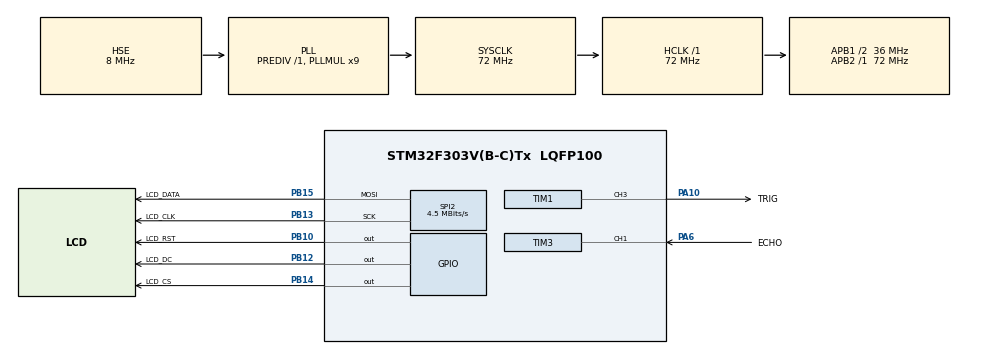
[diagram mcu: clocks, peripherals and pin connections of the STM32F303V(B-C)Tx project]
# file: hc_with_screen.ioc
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Mcu.Family=STM32F3
Mcu.Name=STM32F303V(B-C)Tx
Mcu.Package=LQFP100
Mcu.UserConstants=FREQ_DIVIDER,71;TOO_FAR_TIMEOUT,38000
NVIC.PriorityGroup=NVIC_PRIORITYGROUP_4
NVIC.TIM3_IRQn=true\:0\:0\:false\:false\:true\:true
PA10.GPIO_Label=TRIG
PA10.Signal=S_TIM1_CH3
PA6.GPIO_Label=ECHO
PA6.Signal=S_TIM3_CH1
PB10.GPIO_Label=LCD_RST
PB10.Signal=GPIO_Output
PB12.GPIO_Label=LCD_DC
PB12.Signal=GPIO_Output
PB13.GPIO_Label=LCD_CLK
PB13.Mode=TX_Only_Simplex_Unidirect_Master
PB13.Signal=SPI2_SCK
PB14.GPIO_Label=LCD_CS
PB14.Signal=GPIO_Output
PB15.GPIO_Label=LCD_DATA
PB15.Mode=TX_Only_Simplex_Unidirect_Master
PB15.Signal=SPI2_MOSI
PF0-OSC_IN.Mode=HSE-External-Oscillator
PF0-OSC_IN.Signal=RCC_OSC_IN
PF1-OSC_OUT.Mode=HSE-External-Oscillator
PF1-OSC_OUT.Signal=RCC_OSC_OUT
ProjectManager.HeapSize=0x200
ProjectManager.StackSize=0x400
ProjectManager.TargetToolchain=SW4STM32
RCC.AHBFreq_Value=72000000
RCC.APB1CLKDivider=RCC_HCLK_DIV2
RCC.APB1Freq_Value=36000000
RCC.APB1TimFreq_Value=72000000
RCC.APB2Freq_Value=72000000
RCC.APB2TimFreq_Value=72000000
RCC.CortexFreq_Value=72000000
RCC.HCLKFreq_Value=72000000
RCC.HSE_VALUE=8000000
RCC.HSI_VALUE=8000000
RCC.LSE_VALUE=32768
RCC.PLLMUL=RCC_PLL_MUL9
RCC.PLLSourceVirtual=RCC_PLLSOURCE_HSE
RCC.SYSCLKFreq_VALUE=72000000
RCC.SYSCLKSourceVirtual=RCC_SYSCLKSOURCE_PLLCLK
RCC.USBFreq_Value=72000000
SH.S_TIM1_CH3.0=TIM1_CH3,PWM Generation3 CH3
SH.S_TIM3_CH1.0=TIM3_CH1,TriggerSource_TI1FP1
SH.S_TIM3_CH1.1=TIM3_CH1,Input_Capture1_from_TI1
SH.S_TIM3_CH1.2=TIM3_CH1,Input_Capture2_from_TI1
SPI2.BaudRatePrescaler=SPI_BAUDRATEPRESCALER_8
SPI2.CalculateBaudRate=4.5 MBits/s
SPI2.DataSize=SPI_DATASIZE_8BIT
SPI2.Direction=SPI_DIRECTION_2LINES
SPI2.Mode=SPI_MODE_MASTER
SPI2.VirtualType=VM_MASTER
TIM1.Channel-PWM\ Generation3\ CH3=TIM_CHANNEL_3
TIM1.ClockDivision=TIM_CLOCKDIVISION_DIV1
TIM1.OCMode_PWM-PWM\ Generation3\ CH3=TIM_OCMODE_PWM2
TIM1.Period=15
TIM1.Prescaler=FREQ_DIVIDER
TIM1.Pulse-PWM\ Generation3\ CH3=2
TIM3.Channel-Input_Capture1_from_TI1=TIM_CHANNEL_1
TIM3.Channel-Input_Capture2_from_TI1=TIM_CHANNEL_2
TIM3.ICFilter_CH1=15
TIM3.ICPolarity_CH2=TIM_INPUTCHANNELPOLARITY_FALLING
TIM3.Period=65535
TIM3.Prescaler=FREQ_DIVIDER
VP_TIM1_VS_ClockSourceINT.Mode=Internal
VP_TIM1_VS_OPM.Mode=OPM_bit
VP_TIM3_VS_ClockSourceINT.Mode=Internal
VP_TIM3_VS_ControllerModeReset.Mode=Reset Mode
board=custom

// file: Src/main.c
/**
  ******************************************************************************
  * @file           : main.c
  * @brief          : Main program body
  ******************************************************************************
  ** This notice applies to any and all portions of this file
  * that are not between comment pairs USER CODE BEGIN and
  * USER CODE END. Other portions of this file, whether
  * inserted by the user or by software development tools
  * are owned by their respective copyright owners.
  *
  * COPYRIGHT(c) 2018 STMicroelectronics
  *
  * Redistribution and use in source and binary forms, with or without modification,
  * are permitted provided that the following conditions are met:
  *   1. Redistributions of source code must retain the above copyright notice,
  *      this list of conditions and the following disclaimer.
  *   2. Redistributions in binary form must reproduce the above copyright notice,
  *      this list of conditions and the following disclaimer in the documentation
  *      and/or other materials provided with the distribution.
  *   3. Neither the name of STMicroelectronics nor the names of its contributors
  *      may be used to endorse or promote products derived from this software
  *      without specific prior written permission.
  *
  * THIS SOFTWARE IS PROVIDED BY THE COPYRIGHT HOLDERS AND CONTRIBUTORS "AS IS"
  * AND ANY EXPRESS OR IMPLIED WARRANTIES, INCLUDING, BUT NOT LIMITED TO, THE
  * IMPLIED WARRANTIES OF MERCHANTABILITY AND FITNESS FOR A PARTICULAR PURPOSE ARE
  * DISCLAIMED. IN NO EVENT SHALL THE COPYRIGHT HOLDER OR CONTRIBUTORS BE LIABLE
  * FOR ANY DIRECT, INDIRECT, INCIDENTAL, SPECIAL, EXEMPLARY, OR CONSEQUENTIAL
  * DAMAGES (INCLUDING, BUT NOT LIMITED TO, PROCUREMENT OF SUBSTITUTE GOODS OR
  * SERVICES; LOSS OF USE, DATA, OR PROFITS; OR BUSINESS INTERRUPTION) HOWEVER
  * CAUSED AND ON ANY THEORY OF LIABILITY, WHETHER IN CONTRACT, STRICT LIABILITY,
  * OR TORT (INCLUDING NEGLIGENCE OR OTHERWISE) ARISING IN ANY WAY OUT OF THE USE
  * OF THIS SOFTWARE, EVEN IF ADVISED OF THE POSSIBILITY OF SUCH DAMAGE.
  *
  ******************************************************************************
  */
#include "main.h"
#include "stm32f3xx_hal.h"
#include "spi.h"
#include "tim.h"
#include "gpio.h"

/* USER CODE BEGIN Includes */
#include "lcd5110.h"
/* USER CODE END Includes */

/* USER CODE BEGIN PV */
/* Private variables ---------------------------------------------------------*/

/* USER CODE END PV */

void SystemClock_Config(void);

/* USER CODE BEGIN PFP */
/* Private function prototypes -----------------------------------------------*/

/* USER CODE END PFP */

/* USER CODE BEGIN 0 */
LCD5110_display lcd;

void print_lcd(char* msg[]) {
  LCD5110_clear_scr(&lcd);
  LCD5110_set_cursor(10, 5, &lcd);
  LCD5110_print(msg, BLACK, &lcd);
  LCD5110_refresh(&lcd);
}

typedef enum state_t{
  IDLE_S,
  WAITING_FOR_ECHO_START_S,
  WAITING_FOR_ECHO_STOP_S,
  ECHO_TIMEOUT_S,
  ECHO_NOT_WENT_LOW_S,
  READING_DATA_S,
  ERROR_S
} state_t;

volatile state_t state = IDLE_S;
volatile uint32_t measured_time;

void HAL_TIM_PeriodElapsedCallback(TIM_HandleTypeDef *htim) {
  if (htim->Instance == TIM3) {

    if (state == WAITING_FOR_ECHO_START_S) {
      state = ECHO_TIMEOUT_S;
    }

    if (state == WAITING_FOR_ECHO_STOP_S) {
      state = ECHO_NOT_WENT_LOW_S;
    }
  }
}

void HAL_TIM_IC_CaptureCallback(TIM_HandleTypeDef *htim) {
 if (htim->Instance == TIM3) {
  if (htim->Channel == HAL_TIM_ACTIVE_CHANNEL_1) {

   __HAL_TIM_CLEAR_FLAG(htim, TIM_FLAG_UPDATE);

   if (state == WAITING_FOR_ECHO_START_S) {
    state = WAITING_FOR_ECHO_STOP_S;
   }
  }

  if (htim->Channel == HAL_TIM_ACTIVE_CHANNEL_2) {
   if (state == WAITING_FOR_ECHO_STOP_S) {
    measured_time = HAL_TIM_ReadCapturedValue(htim, TIM_CHANNEL_2);
    state = READING_DATA_S;
   }
  }
 }
}

void on_error (const char* text, bool hang) {

	print_lcd(text);

  if (hang) {
    while (1);
  }

  else {
    state = IDLE_S;
  }
}

/* USER CODE END 0 */

int main(void)
{

  /* MCU Configuration----------------------------------------------------------*/

  /* Reset of all peripherals, Initializes the Flash interface and the Systick. */
  HAL_Init();

  /* Configure the system clock */
  SystemClock_Config();

  /* Initialize all configured peripherals */
  MX_GPIO_Init();
  MX_SPI2_Init();
  MX_TIM1_Init();
  MX_TIM3_Init();
  /* USER CODE BEGIN 2 */
  lcd.hw_conf.spi_handle = &hspi2;
  lcd.hw_conf.spi_cs_pin = LCD_CS_Pin;
  lcd.hw_conf.spi_cs_port = LCD_CS_GPIO_Port;
  lcd.hw_conf.rst_pin = LCD_RST_Pin;
  lcd.hw_conf.rst_port = LCD_RST_GPIO_Port;
  lcd.hw_conf.dc_pin = LCD_DC_Pin;
  lcd.hw_conf.dc_port = LCD_DC_GPIO_Port;
  lcd.def_scr = lcd5110_def_scr;
  LCD5110_init(&lcd.hw_conf, LCD5110_INVERTED_MODE, 0x40, 2, 3);

  if (HAL_GPIO_ReadPin(ECHO_GPIO_Port, ECHO_Pin)) {
    state = ERROR_S;
    on_error("Error -- Echo line is high", true);
  }

  /* USER CODE END 2 */

  /* Infinite loop */
  /* USER CODE BEGIN WHILE */

  HAL_TIM_IC_Start_IT(&htim3, TIM_CHANNEL_1);
  HAL_TIM_IC_Start_IT(&htim3, TIM_CHANNEL_2);
  __HAL_TIM_ENABLE_IT(&htim3, TIM_IT_UPDATE);

  while (1)
  {
    HAL_TIM_PWM_Start(&htim1, TIM_CHANNEL_3);
    HAL_NVIC_DisableIRQ(TIM3_IRQn);
    state = WAITING_FOR_ECHO_START_S;
    HAL_NVIC_EnableIRQ(TIM3_IRQn);

    while (TIM1->CR1 & TIM_CR1_CEN);

    if (HAL_GPIO_ReadPin (TRIG_GPIO_Port, TRIG_Pin))
    {
      print_lcd("Trigger didnt go low!");
      HAL_NVIC_DisableIRQ(TIM3_IRQn);
      state = IDLE_S;
      HAL_NVIC_EnableIRQ(TIM3_IRQn);
      continue;
    }

    while (state != READING_DATA_S &&
        state != ECHO_TIMEOUT_S &&
        state != ECHO_NOT_WENT_LOW_S
        );
      HAL_NVIC_DisableIRQ(TIM3_IRQn);
      state_t state_copy = state;
      state = IDLE_S;
      HAL_NVIC_EnableIRQ(TIM3_IRQn);

    if (HAL_GPIO_ReadPin(ECHO_GPIO_Port, ECHO_Pin))
    {
      print_lcd("Error -- unmeasured distance");
      HAL_Delay(100);
      continue;
    }

  /* USER CODE END WHILE */

  /* USER CODE BEGIN 3 */
    if (state_copy == ECHO_TIMEOUT_S)
    {
      print_lcd("Echo timeout!\n");
    }
    else
    {
      if (measured_time > TOO_FAR_TIMEOUT)
      {
        print_lcd("Too far -- no echo received");
      } else {
        float distance = (measured_time * 10) / 58;
        char unit[] = "mm";
        if (distance > 1000) {
          distance /= 1000;
          unit[0] = 'm';
          unit[1] = '\0';
        }
        if (distance > 100) {
          distance /= 10;
          unit[0] = 'c';
          unit[1] = 'm';
        }
        LCD5110_clear_scr(&lcd);
        LCD5110_set_cursor(2, 2, &lcd);
        LCD5110_printf(&lcd, BLACK, "Distance:\n%.2f %s", distance, unit);
        LCD5110_set_cursor(2, (LCD5110_get_cursor(&lcd).y + 16), &lcd);
        LCD5110_printf(&lcd, BLACK, "Resp. time:\n %lu mks\n", measured_time);
        LCD5110_refresh(&lcd);
      }
    }
    HAL_Delay(50);

  }

  /* USER CODE END 3 */

}

void SystemClock_Config(void)
{

  RCC_OscInitTypeDef RCC_OscInitStruct;
  RCC_ClkInitTypeDef RCC_ClkInitStruct;
  RCC_PeriphCLKInitTypeDef PeriphClkInit;

    /**Initializes the CPU, AHB and APB busses clocks
    */
  RCC_OscInitStruct.OscillatorType = RCC_OSCILLATORTYPE_HSE;
  RCC_OscInitStruct.HSEState = RCC_HSE_ON;
  RCC_OscInitStruct.HSEPredivValue = RCC_HSE_PREDIV_DIV1;
  RCC_OscInitStruct.HSIState = RCC_HSI_ON;
  RCC_OscInitStruct.PLL.PLLState = RCC_PLL_ON;
  RCC_OscInitStruct.PLL.PLLSource = RCC_PLLSOURCE_HSE;
  RCC_OscInitStruct.PLL.PLLMUL = RCC_PLL_MUL9;
  if (HAL_RCC_OscConfig(&RCC_OscInitStruct) != HAL_OK)
  {
    _Error_Handler(__FILE__, __LINE__);
  }

    /**Initializes the CPU, AHB and APB busses clocks
    */
  RCC_ClkInitStruct.ClockType = RCC_CLOCKTYPE_HCLK|RCC_CLOCKTYPE_SYSCLK
                              |RCC_CLOCKTYPE_PCLK1|RCC_CLOCKTYPE_PCLK2;
  RCC_ClkInitStruct.SYSCLKSource = RCC_SYSCLKSOURCE_PLLCLK;
  RCC_ClkInitStruct.AHBCLKDivider = RCC_SYSCLK_DIV1;
  RCC_ClkInitStruct.APB1CLKDivider = RCC_HCLK_DIV2;
  RCC_ClkInitStruct.APB2CLKDivider = RCC_HCLK_DIV1;

  if (HAL_RCC_ClockConfig(&RCC_ClkInitStruct, FLASH_LATENCY_2) != HAL_OK)
  {
    _Error_Handler(__FILE__, __LINE__);
  }

  PeriphClkInit.PeriphClockSelection = RCC_PERIPHCLK_TIM1;
  PeriphClkInit.Tim1ClockSelection = RCC_TIM1CLK_HCLK;
  if (HAL_RCCEx_PeriphCLKConfig(&PeriphClkInit) != HAL_OK)
  {
    _Error_Handler(__FILE__, __LINE__);
  }

    /**Configure the Systick interrupt time
    */
  HAL_SYSTICK_Config(HAL_RCC_GetHCLKFreq()/1000);

    /**Configure the Systick
    */
  HAL_SYSTICK_CLKSourceConfig(SYSTICK_CLKSOURCE_HCLK);

  /* SysTick_IRQn interrupt configuration */
  HAL_NVIC_SetPriority(SysTick_IRQn, 0, 0);
}

void _Error_Handler(char *file, int line)
{
  while(1)
  {
  }
}

/************************ (C) COPYRIGHT STMicroelectronics *****END OF FILE****/
